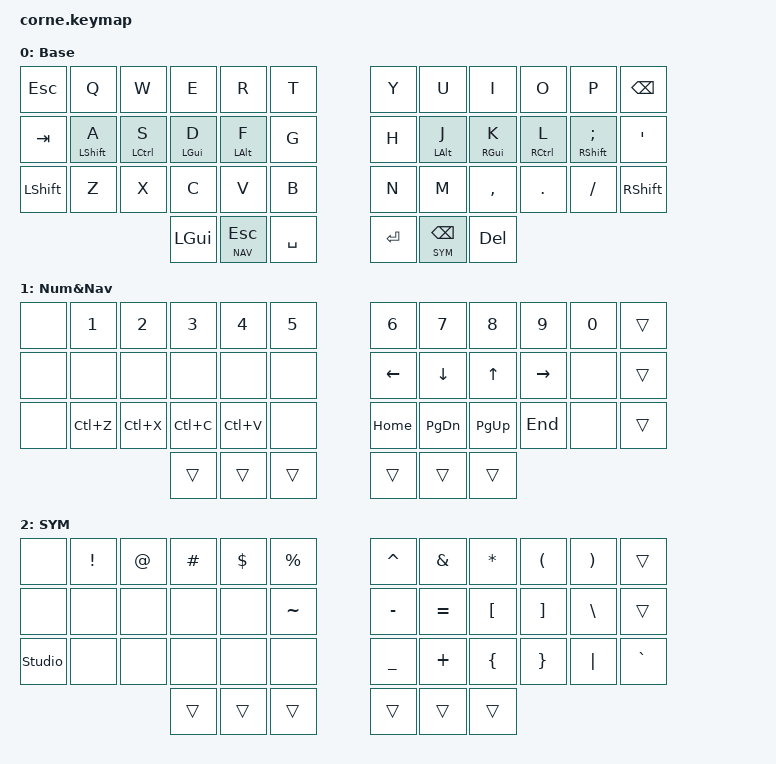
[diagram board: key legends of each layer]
/*
 * Copyright (c) 2020 The ZMK Contributors
 *
 * SPDX-License-Identifier: MIT
 */

#include <behaviors.dtsi>
#include <dt-bindings/zmk/keys.h>
#include <dt-bindings/zmk/bt.h>
#include <dt-bindings/gpio/gpio.h>

#define BASE 0
#define NAV  1
#define SYM  2
#define FUN  3
#define GAME 4
#define GAMEPLUS 5

/ {
    behaviors {
        hm: homerow_mods {
            compatible = "zmk,behavior-hold-tap";
            label = "HOMEROW_MODS";
            #binding-cells = <2>;
            flavor = "tap-preferred";
            tapping-term-ms = <200>;
            quick-tap-ms = <125>;
            global-quick-tap;
            require-prior-idle-ms = <120>;
            bindings = <&kp>, <&kp>;
        };

        tl: layer_tap_sym {
            compatible = "zmk,behavior-hold-tap";
            #binding-cells = <2>;
            bindings = <&mo>, <&kp>;
            flavor = "hold-preferred";
            tapping-term-ms = <200>;
            quick-tap-ms = <125>;
            //require-prior-idle-ms = <75>
        };
    };


        keymap {
                compatible = "zmk,keymap";
// ▄▄▄▄▄▄▄▄▄▄▄▄▄▄▄▄▄▄▄▄▄▄▄▄▄▄▄▄▄▄▄▄▄▄▄▄▄▄▄▄▄▄▄▄▄▄▄▄▄▄▄▄▄▄▄▄▄▄▄▄▄▄▄▄▄▄▄▄▄▄▄▄▄▄▄▄▄▄▄▄▄▄▄▄▄▄▄▄▄▄▄▄▄▄▄▄▄▄▄▄▄▄▄▄▄▄▄▄▄▄▄▄▄▄▄▄▄▄▄▄▄▄▄▄▄▄▄▄▄▄▄▄▄▄▄▄▄▄▄▄▄▄▄▄▄▄▄▄▄

                base_layer {
// ┏━━━━━━━━━━━━━━━━━━━━━━━━━━━━━━━━━━━━━━━┓
        label= "BASE"                      ;
        display-name = "Base"              ;
// ┗━━━━━━━━━━━━━━━━━━━━━━━━━━━━━━━━━━━━━━━┛
// ┏━━━━━━━━━━━┳━━━━━━━━━━━┳━━━━━━━━━━━┳━━━━━━━━━━━┳━━━━━━━━━━━┳━━━━━━━━━━━┓   ┏━━━━━━━━━━━┳━━━━━━━━━━━┳━━━━━━━━━━━┳━━━━━━━━━━━┳━━━━━━━━━━━┳━━━━━━━━━━━┓
// ┃    ESC    ┃     Q     ┃     W     ┃     E     ┃     R     ┃     T     ┃   ┃     Y     ┃     U     ┃     I     ┃     O     ┃     P     ┃   BSPC    ┃
// ┣━━━━━━━━━━━╋━━━━━━━━━━━╋━━━━━━━━━━━╋━━━━━━━━━━━╋━━━━━━━━━━━╋━━━━━━━━━━━┫   ┣━━━━━━━━━━━╋━━━━━━━━━━━╋━━━━━━━━━━━╋━━━━━━━━━━━╋━━━━━━━━━━━╋━━━━━━━━━━━┫
// ┃    TAB    ┃ SFT A     ┃ CTR S     ┃ GUI D     ┃ ALT F     ┃     G     ┃   ┃     H     ┃ ALT J     ┃ GUI K     ┃ CTR L     ┃ SFT ;     ┃     '     ┃
// ┣━━━━━━━━━━━╋━━━━━━━━━━━╋━━━━━━━━━━━╋━━━━━━━━━━━╋━━━━━━━━━━━╋━━━━━━━━━━━┫   ┣━━━━━━━━━━━╋━━━━━━━━━━━╋━━━━━━━━━━━╋━━━━━━━━━━━╋━━━━━━━━━━━╋━━━━━━━━━━━┫
// ┃    LSFT   ┃     Z     ┃     X     ┃     C     ┃     V     ┃     B     ┃   ┃     N     ┃     M     ┃     ,     ┃     .     ┃     /     ┃   RSFT    ┃
// ┗━━━━━━━━━━━┻━━━━━━━━━━━┻━━━━━━━━━━━╋━━━━━━━━━━━╋━━━━━━━━━━━╋━━━━━━━━━━━┫   ┣━━━━━━━━━━━╋━━━━━━━━━━━╋━━━━━━━━━━━╋━━━━━━━━━━━┻━━━━━━━━━━━┻━━━━━━━━━━━┛
//                                     ┃    GUI    ┃    ESC    ┃    SPC    ┃   ┃   ENTER   ┃   BKSPC   ┃    DEL    ┃
//                                     ┗━━━━━━━━━━━┻━━━━━━━━━━━┻━━━━━━━━━━━┛   ┗━━━━━━━━━━━┻━━━━━━━━━━━┻━━━━━━━━━━━┛
 bindings = <
//  ╷           ╷             ╷            ╷           ╷             ╷           ╷   ╷           ╷            ╷           ╷            ╷               ╷           ╷

    &kp ESC     &kp Q         &kp W        &kp E        &kp R        &kp T           &kp Y       &kp U         &kp I       &kp O        &kp P           &kp BSPC
    &kp TAB     &hm LSHFT A   &hm LCTRL S  &hm LGUI D   &hm LALT F   &kp G           &kp H       &hm LALT J    &hm RGUI K  &hm RCTRL L  &hm RSHFT SEMI  &kp APOS
    &kp LSHFT   &kp Z         &kp X        &kp C        &kp V        &kp B           &kp N       &kp M         &kp COMMA   &kp DOT      &kp FSLH        &kp RSHFT
                                           &kp LGUI     &tl NAV ESC  &kp SPACE       &kp RET     &tl SYM BSPC  &kp DEL
                        >;
                };

// ▄▄▄▄▄▄▄▄▄▄▄▄▄▄▄▄▄▄▄▄▄▄▄▄▄▄▄▄▄▄▄▄▄▄▄▄▄▄▄▄▄▄▄▄▄▄▄▄▄▄▄▄▄▄▄▄▄▄▄▄▄▄▄▄▄▄▄▄▄▄▄▄▄▄▄▄▄▄▄▄▄▄▄▄▄▄▄▄▄▄▄▄▄▄▄▄▄▄▄▄▄▄▄▄▄▄▄▄▄▄▄▄▄▄▄▄▄▄▄▄▄▄▄▄▄▄▄▄▄▄▄▄▄▄▄▄▄▄▄▄▄▄▄▄▄▄▄▄▄


                nav_layer {
// ┏━━━━━━━━━━━━━━━━━━━━━━━━━━━━━━━━━━━━━━━┓
        label= "NAV"                       ;
        display-name = "Num&Nav"           ;
// ┗━━━━━━━━━━━━━━━━━━━━━━━━━━━━━━━━━━━━━━━┛
// ┏━━━━━━━━━━━┳━━━━━━━━━━━┳━━━━━━━━━━━┳━━━━━━━━━━━┳━━━━━━━━━━━┳━━━━━━━━━━━┓   ┏━━━━━━━━━━━┳━━━━━━━━━━━┳━━━━━━━━━━━┳━━━━━━━━━━━┳━━━━━━━━━━━┳━━━━━━━━━━━┓
// ┃           ┃     1     ┃     2     ┃     3     ┃     4     ┃     5     ┃   ┃     6     ┃     7     ┃     8     ┃     9     ┃     0     ┃           ┃
// ┣━━━━━━━━━━━╋━━━━━━━━━━━╋━━━━━━━━━━━╋━━━━━━━━━━━╋━━━━━━━━━━━╋━━━━━━━━━━━┫   ┣━━━━━━━━━━━╋━━━━━━━━━━━╋━━━━━━━━━━━╋━━━━━━━━━━━╋━━━━━━━━━━━╋━━━━━━━━━━━┫
// ┃           ┃           ┃           ┃           ┃           ┃           ┃   ┃   LEFT    ┃   DOWN    ┃     UP    ┃   RIGHT   ┃           ┃           ┃
// ┣━━━━━━━━━━━╋━━━━━━━━━━━╋━━━━━━━━━━━╋━━━━━━━━━━━╋━━━━━━━━━━━╋━━━━━━━━━━━┫   ┣━━━━━━━━━━━╋━━━━━━━━━━━╋━━━━━━━━━━━╋━━━━━━━━━━━╋━━━━━━━━━━━╋━━━━━━━━━━━┫
// ┃           ┃   LC(z)   ┃   LC(x)   ┃   LC(c)   ┃   LC(v)   ┃           ┃   ┃   HOME    ┃  PG DN    ┃  PG UP    ┃    END    ┃           ┃           ┃
// ┗━━━━━━━━━━━┻━━━━━━━━━━━┻━━━━━━━━━━━╋━━━━━━━━━━━╋━━━━━━━━━━━╋━━━━━━━━━━━┫   ┣━━━━━━━━━━━╋━━━━━━━━━━━╋━━━━━━━━━━━╋━━━━━━━━━━━┻━━━━━━━━━━━┻━━━━━━━━━━━┛
//                                     ┃           ┃           ┃           ┃   ┃           ┃           ┃           ┃
//                                     ┗━━━━━━━━━━━┻━━━━━━━━━━━┻━━━━━━━━━━━┛   ┗━━━━━━━━━━━┻━━━━━━━━━━━┻━━━━━━━━━━━┛
 bindings = <
// ╷           ╷           ╷           ╷           ╷           ╷           ╷   ╷           ╷           ╷           ╷           ╷           ╷           ╷

    &none       &kp N1      &kp N2      &kp N3      &kp N4      &kp N5          &kp N6      &kp N7      &kp N8      &kp N9      &kp N0     &trans
    &none       &none       &none       &none       &none       &none           &kp LEFT    &kp DOWN    &kp UP      &kp RIGHT   &none      &trans
    &none       &kp LC(Z)   &kp LC(X)   &kp LC(C)   &kp LC(V)   &none           &kp HOME    &kp PG_DN   &kp PG_UP   &kp END     &none      &trans
                                        &trans      &trans      &trans          &trans      &trans      &trans
                        >;
                };

// ▄▄▄▄▄▄▄▄▄▄▄▄▄▄▄▄▄▄▄▄▄▄▄▄▄▄▄▄▄▄▄▄▄▄▄▄▄▄▄▄▄▄▄▄▄▄▄▄▄▄▄▄▄▄▄▄▄▄▄▄▄▄▄▄▄▄▄▄▄▄▄▄▄▄▄▄▄▄▄▄▄▄▄▄▄▄▄▄▄▄▄▄▄▄▄▄▄▄▄▄▄▄▄▄▄▄▄▄▄▄▄▄▄▄▄▄▄▄▄▄▄▄▄▄▄▄▄▄▄▄▄▄▄▄▄▄▄▄▄▄▄▄▄▄▄▄▄▄▄


                sim_layer {
// ┏━━━━━━━━━━━━━━━━━━━━━━━━━━━━━━━━━━━━━━━┓
        label= "SYM"                       ;
        display-name = "SYM"               ;
// ┗━━━━━━━━━━━━━━━━━━━━━━━━━━━━━━━━━━━━━━━┛
// ┏━━━━━━━━━━━┳━━━━━━━━━━━┳━━━━━━━━━━━┳━━━━━━━━━━━┳━━━━━━━━━━━┳━━━━━━━━━━━┓   ┏━━━━━━━━━━━┳━━━━━━━━━━━┳━━━━━━━━━━━┳━━━━━━━━━━━┳━━━━━━━━━━━┓           ┃
// ┃           ┃     !     ┃     @     ┃     #     ┃     $     ┃     %     ┃   ┃     ˆ     ┃     &     ┃     *     ┃     (     ┃     )     ┃
// ┣━━━━━━━━━━━╋━━━━━━━━━━━╋━━━━━━━━━━━╋━━━━━━━━━━━╋━━━━━━━━━━━╋━━━━━━━━━━━┫   ┣━━━━━━━━━━━╋━━━━━━━━━━━╋━━━━━━━━━━━╋━━━━━━━━━━━╋━━━━━━━━━━━┫
// ┃           ┃           ┃           ┃           ┃           ┃     ~     ┃   ┃     -     ┃     =     ┃    [      ┃    ]      ┃     \     ┃           ┃
// ┣━━━━━━━━━━━╋━━━━━━━━━━━╋━━━━━━━━━━━╋━━━━━━━━━━━╋━━━━━━━━━━━╋━━━━━━━━━━━┫   ┣━━━━━━━━━━━╋━━━━━━━━━━━╋━━━━━━━━━━━╋━━━━━━━━━━━╋━━━━━━━━━━━╋━━━━━━━━━━━┓
// ┃  studio   ┃           ┃           ┃           ┃           ┃           ┃   ┃     _     ┃     +     ┃    {      ┃     }     ┃     |     ┃     `     ┃
// ┗━━━━━━━━━━━┻━━━━━━━━━━━┻━━━━━━━━━━━╋━━━━━━━━━━━╋━━━━━━━━━━━╋━━━━━━━━━━━┫   ┣━━━━━━━━━━━╋━━━━━━━━━━━╋━━━━━━━━━━━╋━━━━━━━━━━━┻━━━━━━━━━━━┻━━━━━━━━━━━┛
//                                     ┃           ┃           ┃           ┃   ┃           ┃           ┃           ┃
//                                     ┗━━━━━━━━━━━┻━━━━━━━━━━━┻━━━━━━━━━━━┛   ┗━━━━━━━━━━━┻━━━━━━━━━━━┻━━━━━━━━━━━┛
 bindings = <
// ╷           ╷           ╷           ╷           ╷           ╷           ╷   ╷           ╷           ╷           ╷           ╷           ╷           ╷

    &none            &kp EXCL    &kp AT      &kp HASH    &kp DLLR    &kp PRCNT       &kp CARET   &kp AMPS    &kp STAR   &kp LPAR    &kp RPAR   &trans
    &none            &none       &none       &none       &none       &kp TILDE       &kp MINUS   &kp EQUAL   &kp LBKT   &kp RBKT    &kp BSLH   &trans
    &studio_unlock   &none       &none       &none       &none       &none           &kp UNDER   &kp PLUS    &kp LBRC   &kp RBRC    &kp PIPE   &kp GRAVE
                                             &trans      &trans      &trans         &trans      &trans    &trans
                        >;
                };
        };
};
